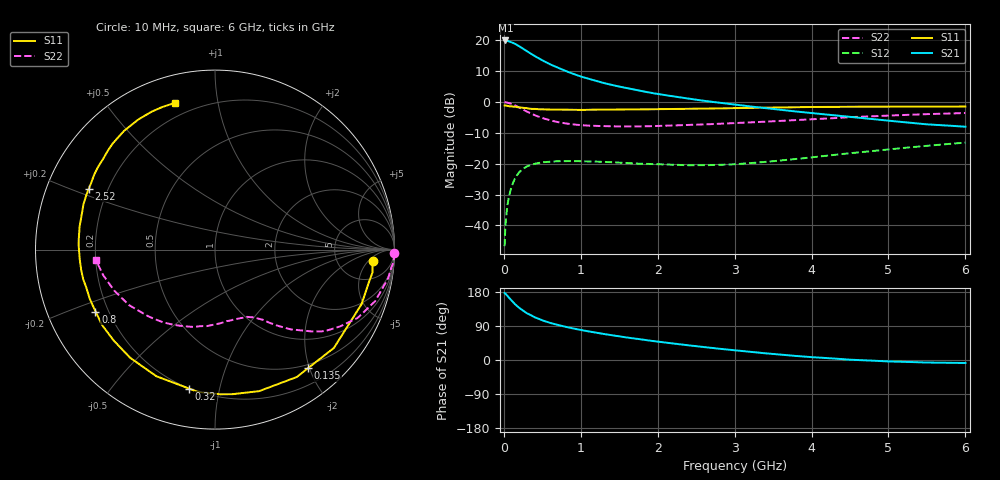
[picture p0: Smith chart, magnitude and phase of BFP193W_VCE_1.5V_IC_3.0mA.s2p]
! Infineon Technologies  Discrete & RF Semiconductors
! BFP193W
! VCE = 1.5 V,  IC =  3.0 mA
! Common Emitter S-Parameters:  Jan 2016
# GHz  S  MA  R  50
!  f  S11  S21  S12  S22
! GHz  MAG  ANG  MAG  ANG  MAG  ANG  MAG  ANG
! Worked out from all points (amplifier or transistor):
!   210 points, 10 MHz to 6 GHz, reference 50 ohm
!   highest |S21| = 20.0 dB at 20 MHz (marker M1)
!   |S21| within 3 dB of that: start of sweep to 269.6 MHz
!   unconditionally stable (mu >= 1): 1.89 GHz to end of sweep
!   at 185 MHz: K = 0.11, MSG = 20.8 dB, |S12| = -23.2 dB
!   at 1.52 GHz: K = 0.80, MSG = 12.3 dB, |S12| = -19.7 dB
!   at 6 GHz: K = 1.01, MAG = 2.1 dB, |S12| = -13.1 dB
!   S11 on the Smith chart (normalised r, x): 10 MHz: 12, -7; 135 MHz: 0.44, -1.98; 320 MHz: 0.20, -0.81; 800 MHz: 0.15, -0.24; 2.52 GHz: 0.13, +0.23; 6 GHz: 0.13, +0.75
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0.01  0.8802 -4.1  9.911 176.8  0.0046 88.5  0.9996 -1.1
0.02  0.8867 -8.3  10.01 175.3  0.0094 84.0  0.9973 -4.0
0.05  0.8713 -20.4  9.858 168.1  0.0226 78.6  0.9777 -9.4
0.1  0.8597 -39.6  9.373 156.9  0.0425 68.6  0.9378 -17.8
0.135  0.8398 -51.9  8.935 149.6  0.0544 61.7  0.8963 -23.2
0.15  0.8435 -57.3  8.794 146.3  0.0597 59.6  0.881 -25.6
0.2  0.826 -72.7  8.053 137.5  0.0729 52.1  0.8173 -31.6
0.26  0.8066 -87.9  7.217 128.8  0.0845 44.4  0.7475 -37.6
0.3  0.7977 -97.1  6.688 123.3  0.0904 40.5  0.7013 -40.5
0.32  0.7877 -100.6  6.455 121.5  0.0921 38.7  0.683 -41.6
0.4  0.7775 -114.9  5.602 112.8  0.0998 32.0  0.6128 -46.5
0.5  0.7659 -128.1  4.761 104.5  0.1056 26.5  0.5512 -50.4
0.6  0.7584 -138.0  4.101 98.0  0.1085 22.0  0.5059 -53.5
0.8  0.75 -152.6  3.2 87.5  0.1106 16.5  0.4511 -58.2
1.02  0.7479 -163.9  2.559 78.5  0.1098 12.7  0.4213 -63.1
1.4  0.756 -178.0  1.905 65.4  0.106 9.7  0.4062 -71.5
2.02  0.7678 165.1  1.344 48.0  0.0976 12.4  0.4119 -86.1
2.52  0.7804 154.2  1.085 36.0  0.0946 18.9  0.4312 -98.6
3.1  0.7998 142.8  0.88 23.6  0.1001 28.5  0.4622 -112.9
4.1  0.8339 126.0  0.645 6.4  0.1312 39.0  0.5336 -137.9
5.1  0.8455 113.7  0.486 -4.3  0.1763 39.5  0.6118 -159.9
6  0.8478 105.4  0.399 -7.9  0.2204 35.8  0.6658 -174.8
